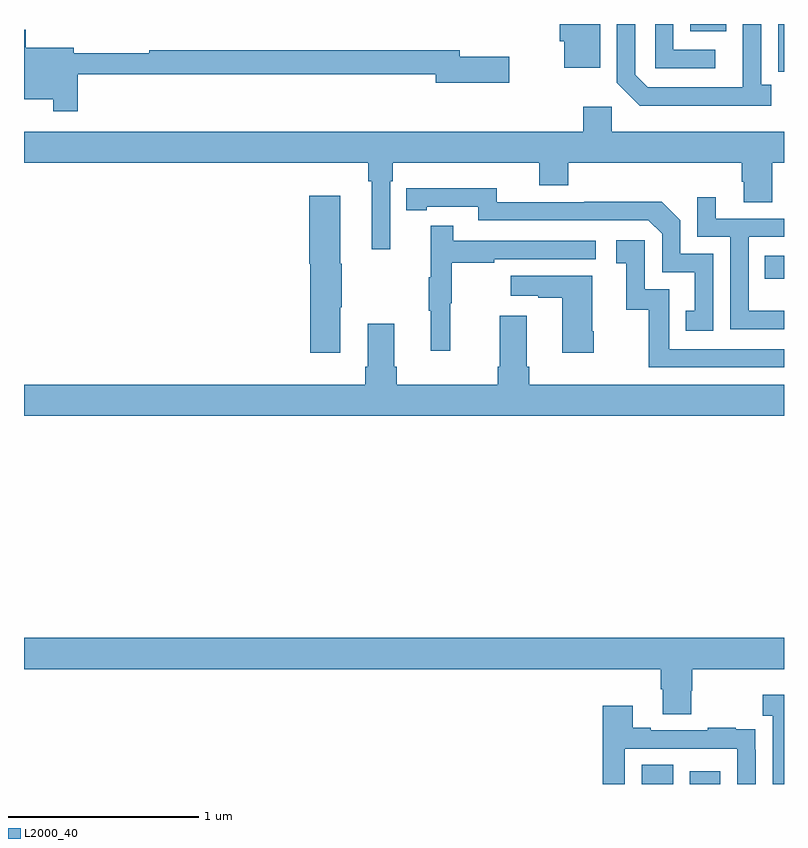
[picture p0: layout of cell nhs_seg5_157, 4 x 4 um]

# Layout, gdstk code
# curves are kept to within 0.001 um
import gdstk
lib = gdstk.Library(unit=1e-6, precision=1e-09)
def R(c, l, rs):  # rectangles x0, y0, x1, y1
    for r in rs: c.add(gdstk.rectangle(r[:2], r[2:], *l))
def P(c, l, *ps):  # polygons
    for p in ps: c.add(gdstk.Polygon(p, *l))
L2000_40 = (2000, 40)

nhs_seg5_157 = lib.new_cell('nhs_seg5_157')
R(nhs_seg5_157, L2000_40, [(122.252,878.799,122.416,878.9), (122.504,878.799,122.665,878.866), (122.899,881.457,123,881.58), (122.507,882.761,122.695,882.799)])
P(nhs_seg5_157, L2000_40, [(122.932,882.478),(122.88,882.478),(122.88,882.799),(122.784,882.799),(122.783,882.465),(122.283,882.465),(122.217,882.531),(122.217,882.799),(122.121,882.799),(122.121,882.489),(122.242,882.368),(122.932,882.368)],
  [(123,882.799),(122.97,882.799),(122.97,882.658),(122.971,882.658),(122.971,882.549),(123,882.549)],
  [(122.032,882.799),(121.82,882.799),(121.82,882.708),(121.844,882.708),(121.844,882.569),(122.032,882.569)],
  [(122.638,882.663),(122.418,882.663),(122.418,882.799),(122.322,882.799),(122.322,882.567),(122.638,882.567)],
  [(119.282,882.534),(121.166,882.534),(121.166,882.491),(121.555,882.491),(121.555,882.626),(121.294,882.626),(121.294,882.662),(119.659,882.662),(119.659,882.644),(119.263,882.644),(119.263,882.673),(119.009,882.673),(119.009,882.769),(119,882.769),(119,882.404),(119.154,882.404),(119.154,882.339),(119.282,882.339)],
  [(120.927,881.972),(120.941,881.972),(120.941,882.068),(121.712,882.068),(121.712,881.951),(121.865,881.951),(121.865,882.068),(122.777,882.068),(122.777,881.97),(122.789,881.97),(122.789,881.86),(122.937,881.86),(122.937,882.068),(123,882.068),(123,882.232),(122.094,882.232),(122.094,882.364),(121.943,882.364),(121.943,882.232),(119,882.232),(119,882.068),(120.811,882.068),(120.811,881.972),(120.83,881.972),(120.83,881.613),(120.927,881.613)],
  [(122.628,881.589),(122.454,881.589),(122.454,881.766),(122.356,881.864),(121.948,881.864),(121.948,881.862),(121.488,881.862),(121.488,881.935),(121.012,881.934),(121.012,881.818),(121.12,881.818),(121.12,881.838),(121.392,881.838),(121.392,881.766),(122.286,881.766),(122.358,881.694),(122.358,881.493),(122.531,881.493),(122.531,881.289),(122.482,881.289),(122.482,881.184),(122.628,881.184)],
  [(120.664,881.308),(120.672,881.308),(120.672,881.538),(120.664,881.538),(120.664,881.896),(120.5,881.896),(120.5,881.538),(120.506,881.538),(120.506,881.07),(120.664,881.07)],
  [(123,881.29),(122.814,881.29),(122.814,881.679),(123,881.679),(123,881.775),(122.641,881.775),(122.641,881.887),(122.544,881.887),(122.544,881.679),(122.718,881.679),(122.718,881.193),(123,881.193)],
  [(121.244,881.328),(121.252,881.328),(121.252,881.542),(121.475,881.542),(121.475,881.562),(122.008,881.562),(122.008,881.658),(121.259,881.658),(121.259,881.737),(121.142,881.737),(121.142,881.465),(121.131,881.465),(121.131,881.291),(121.142,881.291),(121.142,881.079),(121.244,881.079)],
  [(123,881.088),(122.397,881.088),(122.397,881.403),(122.268,881.403),(122.268,881.662),(122.118,881.662),(122.118,881.541),(122.171,881.541),(122.171,881.295),(122.289,881.295),(122.289,880.992),(123,880.992)],
  [(121.998,881.182),(121.99,881.182),(121.99,881.473),(121.563,881.473),(121.563,881.369),(121.706,881.369),(121.706,881.359),(121.832,881.359),(121.832,881.07),(121.998,881.07)],
  [(123,880.9),(121.658,880.9),(121.658,880.996),(121.645,880.996),(121.645,881.263),(121.505,881.263),(121.505,880.996),(121.493,880.996),(121.493,880.9),(120.962,880.9),(120.962,880.996),(120.949,880.996),(120.949,881.221),(120.809,881.221),(120.809,880.996),(120.797,880.996),(120.797,880.9),(119,880.9),(119,880.736),(123,880.736)],
  [(122.511,879.291),(122.516,879.291),(122.516,879.404),(123,879.404),(123,879.568),(119,879.568),(119,879.404),(122.351,879.404),(122.351,879.298),(122.363,879.298),(122.363,879.166),(122.511,879.166)],
  [(123,879.268),(122.889,879.268),(122.889,879.158),(122.94,879.158),(122.94,878.799),(123,878.799)],
  [(122.163,878.985),(122.754,878.985),(122.754,878.799),(122.85,878.799),(122.85,878.978),(122.849,878.978),(122.849,879.087),(122.747,879.087),(122.747,879.094),(122.599,879.094),(122.599,879.081),(122.299,879.081),(122.299,879.094),(122.203,879.094),(122.203,879.211),(122.047,879.211),(122.047,878.799),(122.163,878.799)])

lib.write_gds('nhs_seg5_157.gds')
